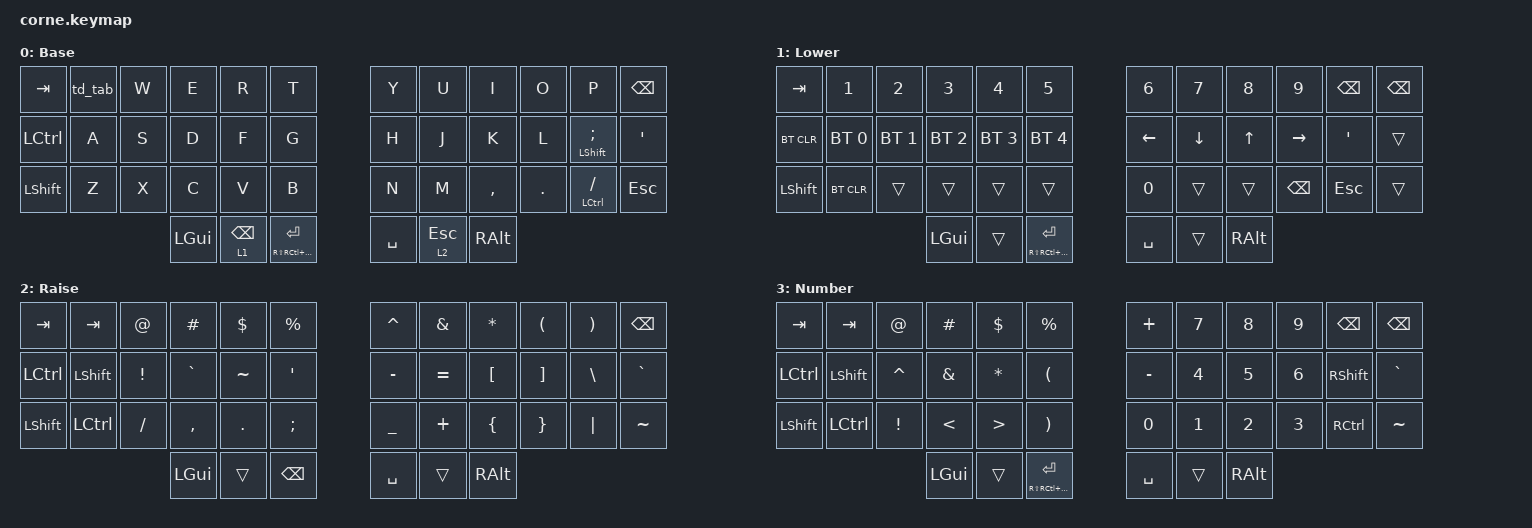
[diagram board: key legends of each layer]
#include <behaviors.dtsi>
#include <dt-bindings/zmk/bt.h>
#include <dt-bindings/zmk/keys.h>

#define DEFAULT 0
#define LOWER 1
#define RAISE 2
#define NUM 3

&mt {
    flavor = "hold-preferred";
    tapping-term-ms = <300>;
};

/ {
    behaviors {
        td0: td0 {
            compatible = "zmk,behavior-tap-dance";
            label = "TD0";
            #binding-cells = <0>;
            bindings = <&kp FSLH>, <&caps_word>;

            tapping-term-ms = <300>;
        };

        td_tab: td_tab {
            compatible = "zmk,behavior-tap-dance";
            label = "TD_TAB";
            #binding-cells = <0>;
            bindings = <&kp Q>, <&kp TAB>;

            tapping-term-ms = <300>;
        };

        td_control: td_control {
            compatible = "zmk,behavior-tap-dance";
            label = "TD_CONTROL";
            #binding-cells = <0>;
            bindings = <&kp Z>, <&kp LCTRL>;

            tapping-term-ms = <300>;
        };

        td_shift: td_shift {
            compatible = "zmk,behavior-tap-dance";
            label = "TD_SHIFT";
            #binding-cells = <0>;
            bindings = <&kp A>, <&kp LSHFT>;

            tapping-term-ms = <300>;
        };

        td_backspace: td_backspace {
            compatible = "zmk,behavior-tap-dance";
            label = "TD_BACKSPACE";
            #binding-cells = <0>;
            bindings = <&kp P>, <&kp BACKSPACE>;

            tapping-term-ms = <300>;
        };
    };

    conditional_layers {
        compatible = "zmk,conditional-layers";

        NUM {
            if-layers = <1 2>;
            then-layer = <3>;
        };
    };

    keymap {
        compatible = "zmk,keymap";

        default_layer {
            // -----------------------------------------------------------------------------------------
            // |  TAB |  Q  |  W  |  E  |  R  |  T  |   |  Y  |  U   |  I  |  O  |  P  | BKSP |
            // | CTRL |  A  |  S  |  D  |  F  |  G  |   |  H  |  J   |  K  |  L  |  ;  |  '   |
            // | SHFT |  Z  |  X  |  C  |  V  |  B  |   |  N  |  M   |  ,  |  .  |  /  | ESC  |
            //                    | GUI | LWR | ENT |   | SPC | RSE  | ALT |

            label = "Base";
            bindings = <
&kp TAB    &td_tab  &kp W  &kp E     &kp R            &kp T                       &kp Y      &kp U      &kp I      &kp O    &kp P                  &kp BSPC
&kp LCTRL  &kp A    &kp S  &kp D     &kp F            &kp G                       &kp H      &kp J      &kp K      &kp L    &mt LEFT_SHIFT SEMI    &kp SQT
&kp LSHFT  &kp Z    &kp X  &kp C     &kp V            &kp B                       &kp N      &kp M      &kp COMMA  &kp DOT  &mt LEFT_CONTROL FSLH  &kp ESC
                           &kp LGUI  &lt 1 BACKSPACE  &mt RS(RC(RA(RGUI))) RET    &kp SPACE  &lt 2 ESC  &kp RALT
            >;
        };

        lower_layer {
            // -----------------------------------------------------------------------------------------
            // |  TAB |  1  |  2  |  3  |  4  |  5  |   |  6  |  7  |  8  |  9  |  0  | BKSP |
            // | BTCLR| BT1 | BT2 | BT3 | BT4 | BT5 |   | LFT | DWN |  UP | RGT |     |      |
            // | SHFT |BTCLR|     |     |     |     |   |     |     |     |     |     |      |
            //                    | GUI |     | ENT |   | SPC |     | ALT |

            label = "Lower";
            bindings = <
&kp TAB     &kp N1        &kp N2        &kp N3        &kp N4        &kp N5                      &kp N6     &kp N7    &kp N8    &kp N9     &kp BACKSPACE  &kp BSPC
&bt BT_CLR  &bt BT_SEL 0  &bt BT_SEL 1  &bt BT_SEL 2  &bt BT_SEL 3  &bt BT_SEL 4                &kp LEFT   &kp DOWN  &kp UP    &kp RIGHT  &kp SQT        &trans
&kp LSHFT   &bt BT_CLR    &trans        &trans        &trans        &trans                      &kp N0     &trans    &trans    &kp BSPC   &kp ESC        &trans
                                        &kp LGUI      &trans        &mt RS(RC(RA(RGUI))) RET    &kp SPACE  &trans    &kp RALT
            >;
        };

        raise_layer {
            // -----------------------------------------------------------------------------------------
            // |  TAB |  !  |  @  |  #  |  $  |  %  |   |  ^  |  &  |  *  |  (  |  )  | BKSP |
            // | CTRL |     |     |     |     |     |   |  -  |  =  |  [  |  ]  |  \  |  `   |
            // | SHFT |     |     |     |     |     |   |  _  |  +  |  {  |  }  | "|" |  ~   |
            //                    | GUI |     | ENT |   | SPC |     | ALT |

            label = "Raise";
            bindings = <
&kp TAB    &kp TAB    &kp AT    &kp HASH   &kp DLLR    &kp PRCNT        &kp CARET  &kp AMPS   &kp ASTERISK  &kp LPAR  &kp RPAR  &kp BSPC
&kp LCTRL  &kp LSHFT  &kp EXCL  &kp GRAVE  &kp TILDE   &kp SQT          &kp MINUS  &kp EQUAL  &kp LBKT      &kp RBKT  &kp BSLH  &kp GRAVE
&kp LSHFT  &kp LCTRL  &kp FSLH  &kp COMMA  &kp PERIOD  &kp SEMICOLON    &kp UNDER  &kp PLUS   &kp LBRC      &kp RBRC  &kp PIPE  &kp TILDE
                                &kp LGUI   &trans      &kp BACKSPACE    &kp SPACE  &trans     &kp RALT
            >;
        };

        num_layer {
            // -----------------------------------------------------------------------------------------
            // |  TAB |  !  |  @  |  #  |  $  |  %  |   |  ^  |  &  |  *  |  (  |  )  | BKSP |
            // | CTRL |     |     |     |     |     |   |  -  |  =  |  [  |  ]  |  \  |  `   |
            // | SHFT |     |     |     |     |     |   |  _  |  +  |  {  |  }  | "|" |  ~   |
            //                    | GUI |     | ENT |   | SPC |     | ALT |

            label = "Number";
            bindings = <
&kp TAB    &kp TAB    &kp AT     &kp HASH  &kp DLLR   &kp PRCNT                   &kp PLUS   &kp N7  &kp N8    &kp N9  &kp BACKSPACE      &kp BSPC
&kp LCTRL  &kp LSHFT  &kp CARET  &kp AMPS  &kp ASTRK  &kp LPAR                    &kp MINUS  &kp N4  &kp N5    &kp N6  &kp RIGHT_SHIFT    &kp GRAVE
&kp LSHFT  &kp LCTRL  &kp EXCL   &kp LT    &kp GT     &kp RPAR                    &kp N0     &kp N1  &kp N2    &kp N3  &kp RIGHT_CONTROL  &kp TILDE
                                 &kp LGUI  &trans     &mt RS(RC(RA(RGUI))) RET    &kp SPACE  &trans  &kp RALT
            >;
        };
    };
};
